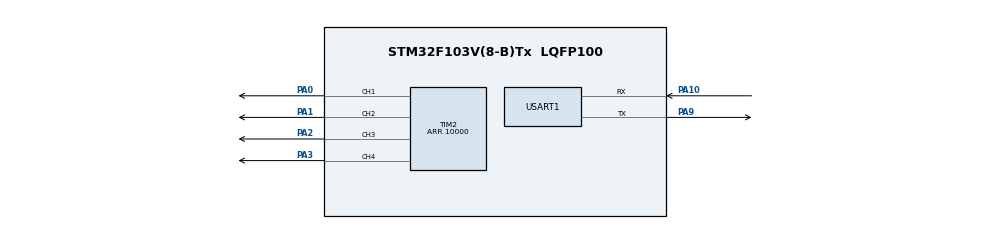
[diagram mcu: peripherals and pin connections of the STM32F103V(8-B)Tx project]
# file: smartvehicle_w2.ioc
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Mcu.Family=STM32F1
Mcu.Name=STM32F103V(8-B)Tx
Mcu.Package=LQFP100
NVIC.PriorityGroup=NVIC_PRIORITYGROUP_4
OSC_IN.Mode=HSE-External-Oscillator
OSC_IN.Signal=RCC_OSC_IN
OSC_OUT.Mode=HSE-External-Oscillator
OSC_OUT.Signal=RCC_OSC_OUT
PA0-WKUP.Signal=S_TIM2_CH1_ETR
PA1.Signal=S_TIM2_CH2
PA10.Mode=Asynchronous
PA10.Signal=USART1_RX
PA13.Mode=Serial_Wire
PA13.Signal=SYS_JTMS-SWDIO
PA14.Mode=Serial_Wire
PA14.Signal=SYS_JTCK-SWCLK
PA2.Signal=S_TIM2_CH3
PA3.Signal=S_TIM2_CH4
PA9.Mode=Asynchronous
PA9.Signal=USART1_TX
PC14-OSC32_IN.Mode=LSE-External-Oscillator
PC14-OSC32_IN.Signal=RCC_OSC32_IN
PC15-OSC32_OUT.Mode=LSE-External-Oscillator
PC15-OSC32_OUT.Signal=RCC_OSC32_OUT
ProjectManager.HeapSize=0x200
ProjectManager.StackSize=0x400
ProjectManager.TargetToolchain=Makefile
RCC.APB1Freq_Value=8000000
RCC.APB2Freq_Value=8000000
RCC.USBFreq_Value=8000000
SH.S_TIM2_CH1_ETR.0=TIM2_CH1,PWM Generation1 CH1
SH.S_TIM2_CH2.0=TIM2_CH2,PWM Generation2 CH2
SH.S_TIM2_CH3.0=TIM2_CH3,PWM Generation3 CH3
SH.S_TIM2_CH4.0=TIM2_CH4,PWM Generation4 CH4
TIM2.AutoReloadPreload=TIM_AUTORELOAD_PRELOAD_ENABLE
TIM2.Channel-PWM\ Generation1\ CH1=TIM_CHANNEL_1
TIM2.Channel-PWM\ Generation2\ CH2=TIM_CHANNEL_2
TIM2.Channel-PWM\ Generation3\ CH3=TIM_CHANNEL_3
TIM2.Channel-PWM\ Generation4\ CH4=TIM_CHANNEL_4
TIM2.ClockDivision=TIM_CLOCKDIVISION_DIV4
TIM2.Period=10000
TIM2.Pulse-PWM\ Generation1\ CH1=2000
TIM2.Pulse-PWM\ Generation2\ CH2=4000
TIM2.Pulse-PWM\ Generation3\ CH3=6000
TIM2.Pulse-PWM\ Generation4\ CH4=8000
USART1.VirtualMode=VM_ASYNC
VP_TIM2_VS_ClockSourceINT.Mode=Internal
board=smartv_w2

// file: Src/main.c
/**
  ******************************************************************************
  * @file           : main.c
  * @brief          : Main program body
  ******************************************************************************
  ** This notice applies to any and all portions of this file
  * that are not between comment pairs USER CODE BEGIN and
  * USER CODE END. Other portions of this file, whether
  * inserted by the user or by software development tools
  * are owned by their respective copyright owners.
  *
  * COPYRIGHT(c) 2018 STMicroelectronics
  *
  * Redistribution and use in source and binary forms, with or without modification,
  * are permitted provided that the following conditions are met:
  *   1. Redistributions of source code must retain the above copyright notice,
  *      this list of conditions and the following disclaimer.
  *   2. Redistributions in binary form must reproduce the above copyright notice,
  *      this list of conditions and the following disclaimer in the documentation
  *      and/or other materials provided with the distribution.
  *   3. Neither the name of STMicroelectronics nor the names of its contributors
  *      may be used to endorse or promote products derived from this software
  *      without specific prior written permission.
  *
  * THIS SOFTWARE IS PROVIDED BY THE COPYRIGHT HOLDERS AND CONTRIBUTORS "AS IS"
  * AND ANY EXPRESS OR IMPLIED WARRANTIES, INCLUDING, BUT NOT LIMITED TO, THE
  * IMPLIED WARRANTIES OF MERCHANTABILITY AND FITNESS FOR A PARTICULAR PURPOSE ARE
  * DISCLAIMED. IN NO EVENT SHALL THE COPYRIGHT HOLDER OR CONTRIBUTORS BE LIABLE
  * FOR ANY DIRECT, INDIRECT, INCIDENTAL, SPECIAL, EXEMPLARY, OR CONSEQUENTIAL
  * DAMAGES (INCLUDING, BUT NOT LIMITED TO, PROCUREMENT OF SUBSTITUTE GOODS OR
  * SERVICES; LOSS OF USE, DATA, OR PROFITS; OR BUSINESS INTERRUPTION) HOWEVER
  * CAUSED AND ON ANY THEORY OF LIABILITY, WHETHER IN CONTRACT, STRICT LIABILITY,
  * OR TORT (INCLUDING NEGLIGENCE OR OTHERWISE) ARISING IN ANY WAY OUT OF THE USE
  * OF THIS SOFTWARE, EVEN IF ADVISED OF THE POSSIBILITY OF SUCH DAMAGE.
  *
  ******************************************************************************
  */
#include "main.h"
#include "stm32f1xx_hal.h"

TIM_HandleTypeDef htim2;

UART_HandleTypeDef huart1;

/* USER CODE BEGIN PV */
/* Private variables ---------------------------------------------------------*/

/* USER CODE END PV */

void SystemClock_Config(void);
static void MX_GPIO_Init(void);
static void MX_USART1_UART_Init(void);
static void MX_TIM2_Init(void);
void HAL_TIM_MspPostInit(TIM_HandleTypeDef *htim);

/* USER CODE BEGIN PFP */
/* Private function prototypes -----------------------------------------------*/

/* USER CODE END PFP */

int main(void)
{

  /* MCU Configuration----------------------------------------------------------*/

  /* Reset of all peripherals, Initializes the Flash interface and the Systick. */
  HAL_Init();

  /* Configure the system clock */
  SystemClock_Config();

  /* Initialize all configured peripherals */
  MX_GPIO_Init();
  MX_USART1_UART_Init();
  MX_TIM2_Init();
  /* USER CODE BEGIN 2 */
  TIM_OC_InitTypeDef sConfigOC;
  uint8_t dir = 0;
  uint32_t c = 0;
  sConfigOC.OCMode = TIM_OCMODE_PWM1;
  sConfigOC.Pulse = 2000;
  sConfigOC.OCPolarity = TIM_OCPOLARITY_HIGH;
  sConfigOC.OCFastMode = TIM_OCFAST_DISABLE;
  HAL_TIM_PWM_Start(&htim2, TIM_CHANNEL_1);
  HAL_TIM_PWM_Start(&htim2, TIM_CHANNEL_2);
  HAL_TIM_PWM_Start(&htim2, TIM_CHANNEL_3);
  HAL_TIM_PWM_Start(&htim2, TIM_CHANNEL_4);
  /* USER CODE END 2 */

  /* Infinite loop */
  while (1)
  {

    /* USER CODE BEGIN 3 */
    c++;
    if (dir == 0)
    {
      if (sConfigOC.Pulse < 9000)
      {
        sConfigOC.Pulse += c + 100;
      }
      else
      {
        dir = 1;
      }
    }
    else
    {
      if (sConfigOC.Pulse > 1000)
      {
        sConfigOC.Pulse -= c + 100;
      }
      else
      {
        dir = 0;
      }
    }
    HAL_TIM_PWM_ConfigChannel(&htim2, &sConfigOC, TIM_CHANNEL_1);
    HAL_TIM_PWM_Start(&htim2, TIM_CHANNEL_1);
    HAL_Delay(10);
  }
  /* USER CODE END 3 */
}

void SystemClock_Config(void)
{

  RCC_OscInitTypeDef RCC_OscInitStruct;
  RCC_ClkInitTypeDef RCC_ClkInitStruct;

  /**Initializes the CPU, AHB and APB busses clocks
    */
  RCC_OscInitStruct.OscillatorType = RCC_OSCILLATORTYPE_HSI;
  RCC_OscInitStruct.HSIState = RCC_HSI_ON;
  RCC_OscInitStruct.HSICalibrationValue = 16;
  RCC_OscInitStruct.PLL.PLLState = RCC_PLL_NONE;
  if (HAL_RCC_OscConfig(&RCC_OscInitStruct) != HAL_OK)
  {
    _Error_Handler(__FILE__, __LINE__);
  }

  /**Initializes the CPU, AHB and APB busses clocks
    */
  RCC_ClkInitStruct.ClockType = RCC_CLOCKTYPE_HCLK | RCC_CLOCKTYPE_SYSCLK | RCC_CLOCKTYPE_PCLK1 | RCC_CLOCKTYPE_PCLK2;
  RCC_ClkInitStruct.SYSCLKSource = RCC_SYSCLKSOURCE_HSI;
  RCC_ClkInitStruct.AHBCLKDivider = RCC_SYSCLK_DIV1;
  RCC_ClkInitStruct.APB1CLKDivider = RCC_HCLK_DIV1;
  RCC_ClkInitStruct.APB2CLKDivider = RCC_HCLK_DIV1;

  if (HAL_RCC_ClockConfig(&RCC_ClkInitStruct, FLASH_LATENCY_0) != HAL_OK)
  {
    _Error_Handler(__FILE__, __LINE__);
  }

  /**Configure the Systick interrupt time
    */
  HAL_SYSTICK_Config(HAL_RCC_GetHCLKFreq() / 1000);

  /**Configure the Systick
    */
  HAL_SYSTICK_CLKSourceConfig(SYSTICK_CLKSOURCE_HCLK);

  /* SysTick_IRQn interrupt configuration */
  HAL_NVIC_SetPriority(SysTick_IRQn, 0, 0);
}

/* TIM2 init function */
static void MX_TIM2_Init(void)
{

  TIM_ClockConfigTypeDef sClockSourceConfig;
  TIM_MasterConfigTypeDef sMasterConfig;
  TIM_OC_InitTypeDef sConfigOC;

  htim2.Instance = TIM2;
  htim2.Init.Prescaler = 0;
  htim2.Init.CounterMode = TIM_COUNTERMODE_UP;
  htim2.Init.Period = 10000;
  htim2.Init.ClockDivision = TIM_CLOCKDIVISION_DIV4;
  htim2.Init.AutoReloadPreload = TIM_AUTORELOAD_PRELOAD_ENABLE;
  if (HAL_TIM_Base_Init(&htim2) != HAL_OK)
  {
    _Error_Handler(__FILE__, __LINE__);
  }

  sClockSourceConfig.ClockSource = TIM_CLOCKSOURCE_INTERNAL;
  if (HAL_TIM_ConfigClockSource(&htim2, &sClockSourceConfig) != HAL_OK)
  {
    _Error_Handler(__FILE__, __LINE__);
  }

  if (HAL_TIM_PWM_Init(&htim2) != HAL_OK)
  {
    _Error_Handler(__FILE__, __LINE__);
  }

  sMasterConfig.MasterOutputTrigger = TIM_TRGO_RESET;
  sMasterConfig.MasterSlaveMode = TIM_MASTERSLAVEMODE_DISABLE;
  if (HAL_TIMEx_MasterConfigSynchronization(&htim2, &sMasterConfig) != HAL_OK)
  {
    _Error_Handler(__FILE__, __LINE__);
  }

  sConfigOC.OCMode = TIM_OCMODE_PWM1;
  sConfigOC.Pulse = 2000;
  sConfigOC.OCPolarity = TIM_OCPOLARITY_HIGH;
  sConfigOC.OCFastMode = TIM_OCFAST_DISABLE;
  if (HAL_TIM_PWM_ConfigChannel(&htim2, &sConfigOC, TIM_CHANNEL_1) != HAL_OK)
  {
    _Error_Handler(__FILE__, __LINE__);
  }

  sConfigOC.Pulse = 4000;
  if (HAL_TIM_PWM_ConfigChannel(&htim2, &sConfigOC, TIM_CHANNEL_2) != HAL_OK)
  {
    _Error_Handler(__FILE__, __LINE__);
  }

  sConfigOC.Pulse = 6000;
  if (HAL_TIM_PWM_ConfigChannel(&htim2, &sConfigOC, TIM_CHANNEL_3) != HAL_OK)
  {
    _Error_Handler(__FILE__, __LINE__);
  }

  sConfigOC.Pulse = 8000;
  if (HAL_TIM_PWM_ConfigChannel(&htim2, &sConfigOC, TIM_CHANNEL_4) != HAL_OK)
  {
    _Error_Handler(__FILE__, __LINE__);
  }

  HAL_TIM_MspPostInit(&htim2);
}

/* USART1 init function */
static void MX_USART1_UART_Init(void)
{

  huart1.Instance = USART1;
  huart1.Init.BaudRate = 115200;
  huart1.Init.WordLength = UART_WORDLENGTH_8B;
  huart1.Init.StopBits = UART_STOPBITS_1;
  huart1.Init.Parity = UART_PARITY_NONE;
  huart1.Init.Mode = UART_MODE_TX_RX;
  huart1.Init.HwFlowCtl = UART_HWCONTROL_NONE;
  huart1.Init.OverSampling = UART_OVERSAMPLING_16;
  if (HAL_UART_Init(&huart1) != HAL_OK)
  {
    _Error_Handler(__FILE__, __LINE__);
  }
}

/** Configure pins as
        * Analog
        * Input
        * Output
        * EVENT_OUT
        * EXTI
        * Free pins are configured automatically as Analog (this feature is enabled through
        * the Code Generation settings)
*/
static void MX_GPIO_Init(void)
{

  GPIO_InitTypeDef GPIO_InitStruct;

  /* GPIO Ports Clock Enable */
  __HAL_RCC_GPIOE_CLK_ENABLE();
  __HAL_RCC_GPIOC_CLK_ENABLE();
  __HAL_RCC_GPIOA_CLK_ENABLE();
  __HAL_RCC_GPIOB_CLK_ENABLE();
  __HAL_RCC_GPIOD_CLK_ENABLE();

  /*Configure GPIO pins : PE2 PE3 PE4 PE5
                           PE6 PE7 PE8 PE9
                           PE10 PE11 PE12 PE13
                           PE14 PE15 PE0 PE1 */
  GPIO_InitStruct.Pin = GPIO_PIN_2 | GPIO_PIN_3 | GPIO_PIN_4 | GPIO_PIN_5 | GPIO_PIN_6 | GPIO_PIN_7 | GPIO_PIN_8 | GPIO_PIN_9 | GPIO_PIN_10 | GPIO_PIN_11 | GPIO_PIN_12 | GPIO_PIN_13 | GPIO_PIN_14 | GPIO_PIN_15 | GPIO_PIN_0 | GPIO_PIN_1;
  GPIO_InitStruct.Mode = GPIO_MODE_ANALOG;
  HAL_GPIO_Init(GPIOE, &GPIO_InitStruct);

  /*Configure GPIO pins : PC13 PC0 PC1 PC2
                           PC3 PC4 PC5 PC6
                           PC7 PC8 PC9 PC10
                           PC11 PC12 */
  GPIO_InitStruct.Pin = GPIO_PIN_13 | GPIO_PIN_0 | GPIO_PIN_1 | GPIO_PIN_2 | GPIO_PIN_3 | GPIO_PIN_4 | GPIO_PIN_5 | GPIO_PIN_6 | GPIO_PIN_7 | GPIO_PIN_8 | GPIO_PIN_9 | GPIO_PIN_10 | GPIO_PIN_11 | GPIO_PIN_12;
  GPIO_InitStruct.Mode = GPIO_MODE_ANALOG;
  HAL_GPIO_Init(GPIOC, &GPIO_InitStruct);

  /*Configure GPIO pins : PA4 PA5 PA6 PA7
                           PA8 PA11 PA12 PA15 */
  GPIO_InitStruct.Pin = GPIO_PIN_4 | GPIO_PIN_5 | GPIO_PIN_6 | GPIO_PIN_7 | GPIO_PIN_8 | GPIO_PIN_11 | GPIO_PIN_12 | GPIO_PIN_15;
  GPIO_InitStruct.Mode = GPIO_MODE_ANALOG;
  HAL_GPIO_Init(GPIOA, &GPIO_InitStruct);

  /*Configure GPIO pins : PB0 PB1 PB2 PB10
                           PB11 PB12 PB13 PB14
                           PB15 PB3 PB4 PB5
                           PB6 PB7 PB8 PB9 */
  GPIO_InitStruct.Pin = GPIO_PIN_0 | GPIO_PIN_1 | GPIO_PIN_2 | GPIO_PIN_10 | GPIO_PIN_11 | GPIO_PIN_12 | GPIO_PIN_13 | GPIO_PIN_14 | GPIO_PIN_15 | GPIO_PIN_3 | GPIO_PIN_4 | GPIO_PIN_5 | GPIO_PIN_6 | GPIO_PIN_7 | GPIO_PIN_8 | GPIO_PIN_9;
  GPIO_InitStruct.Mode = GPIO_MODE_ANALOG;
  HAL_GPIO_Init(GPIOB, &GPIO_InitStruct);

  /*Configure GPIO pins : PD8 PD9 PD10 PD11
                           PD12 PD13 PD14 PD15
                           PD0 PD1 PD2 PD3
                           PD4 PD5 PD6 PD7 */
  GPIO_InitStruct.Pin = GPIO_PIN_8 | GPIO_PIN_9 | GPIO_PIN_10 | GPIO_PIN_11 | GPIO_PIN_12 | GPIO_PIN_13 | GPIO_PIN_14 | GPIO_PIN_15 | GPIO_PIN_0 | GPIO_PIN_1 | GPIO_PIN_2 | GPIO_PIN_3 | GPIO_PIN_4 | GPIO_PIN_5 | GPIO_PIN_6 | GPIO_PIN_7;
  GPIO_InitStruct.Mode = GPIO_MODE_ANALOG;
  HAL_GPIO_Init(GPIOD, &GPIO_InitStruct);
}

void _Error_Handler(char *file, int line)
{
  while (1)
  {
  }
}

/************************ (C) COPYRIGHT STMicroelectronics *****END OF FILE****/
